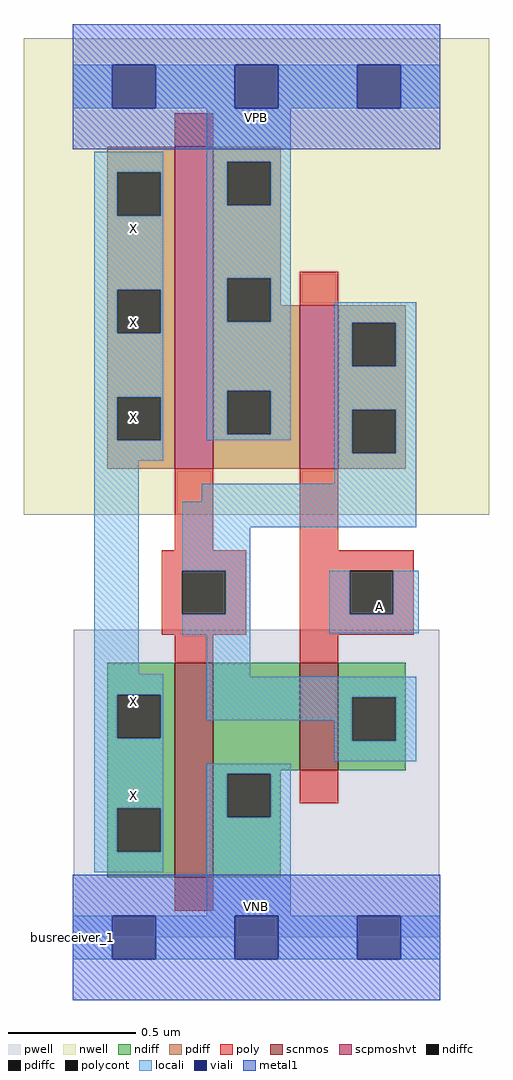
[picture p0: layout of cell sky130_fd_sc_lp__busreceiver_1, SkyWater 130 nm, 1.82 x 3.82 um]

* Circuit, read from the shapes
.subckt sky130_fd_sc_lp__busreceiver_1 A VGND VNB VPB VPWR X
XM1 VGND n1 X VNB sky130_fd_pr__nfet_01v8 w=0.84 l=0.15
XM2 n1 A VGND VNB sky130_fd_pr__nfet_01v8 w=0.42 l=0.15
XM3 VPWR n1 X VPB sky130_fd_pr__pfet_01v8_hvt w=1.26 l=0.15
XM4 n1 A VPWR VPB sky130_fd_pr__pfet_01v8_hvt w=0.64 l=0.15
.ends

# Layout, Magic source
magic
tech sky130A
magscale 1 2
<< nwell >>
rect -38 331 326 704
<< pwell >>
rect 1 49 287 241
rect 0 0 288 49
<< scnmos >>
rect 80 47 110 215
rect 178 131 208 215
<< scpmoshvt >>
rect 80 367 110 619
rect 178 367 208 495
<< ndiff >>
rect 27 190 80 215
rect 27 156 35 190
rect 69 156 80 190
rect 27 101 80 156
rect 27 67 35 101
rect 69 67 80 101
rect 27 47 80 67
rect 110 131 178 215
rect 208 188 261 215
rect 208 154 219 188
rect 253 154 261 188
rect 208 131 261 154
rect 110 128 163 131
rect 110 94 121 128
rect 155 94 163 128
rect 110 47 163 94
<< pdiff >>
rect 27 599 80 619
rect 27 565 35 599
rect 69 565 80 599
rect 27 507 80 565
rect 27 473 35 507
rect 69 473 80 507
rect 27 423 80 473
rect 27 389 35 423
rect 69 389 80 423
rect 27 367 80 389
rect 110 607 163 619
rect 110 573 121 607
rect 155 573 163 607
rect 110 516 163 573
rect 110 482 121 516
rect 155 495 163 516
rect 155 482 178 495
rect 110 428 178 482
rect 110 394 121 428
rect 155 394 178 428
rect 110 367 178 394
rect 208 481 261 495
rect 208 447 219 481
rect 253 447 261 481
rect 208 413 261 447
rect 208 379 219 413
rect 253 379 261 413
rect 208 367 261 379
<< ndiffc >>
rect 35 156 69 190
rect 35 67 69 101
rect 219 154 253 188
rect 121 94 155 128
<< pdiffc >>
rect 35 565 69 599
rect 35 473 69 507
rect 35 389 69 423
rect 121 573 155 607
rect 121 482 155 516
rect 121 394 155 428
rect 219 447 253 481
rect 219 379 253 413
<< poly >>
rect 80 619 110 645
rect 178 495 208 521
rect 80 303 110 367
rect 178 303 208 367
rect 70 287 136 303
rect 70 253 86 287
rect 120 253 136 287
rect 70 237 136 253
rect 178 287 267 303
rect 178 253 217 287
rect 251 253 267 287
rect 178 237 267 253
rect 80 215 110 237
rect 178 215 208 237
rect 178 105 208 131
rect 80 21 110 47
<< polycont >>
rect 86 253 120 287
rect 217 253 251 287
<< locali >>
rect 0 649 31 683
rect 65 649 127 683
rect 161 649 223 683
rect 257 649 288 683
rect 17 599 71 615
rect 17 565 35 599
rect 69 565 71 599
rect 17 507 71 565
rect 17 473 35 507
rect 69 473 71 507
rect 17 423 71 473
rect 17 389 35 423
rect 69 389 71 423
rect 105 607 171 649
rect 105 573 121 607
rect 155 573 171 607
rect 105 516 171 573
rect 105 482 121 516
rect 155 482 171 516
rect 105 428 171 482
rect 105 394 121 428
rect 155 394 171 428
rect 105 389 171 394
rect 205 481 269 497
rect 205 447 219 481
rect 253 447 269 481
rect 205 413 269 447
rect 17 373 71 389
rect 205 379 219 413
rect 253 379 269 413
rect 17 206 52 373
rect 205 355 269 379
rect 101 341 269 355
rect 86 321 269 341
rect 86 287 139 321
rect 120 253 139 287
rect 86 237 139 253
rect 201 253 217 287
rect 251 253 271 287
rect 201 238 271 253
rect 17 190 71 206
rect 17 156 35 190
rect 69 156 71 190
rect 105 204 139 237
rect 105 188 269 204
rect 105 170 219 188
rect 17 101 71 156
rect 205 154 219 170
rect 253 154 269 188
rect 205 138 269 154
rect 17 67 35 101
rect 69 67 71 101
rect 17 51 71 67
rect 105 128 171 136
rect 105 94 121 128
rect 155 94 171 128
rect 105 17 171 94
rect 0 -17 31 17
rect 65 -17 127 17
rect 161 -17 223 17
rect 257 -17 288 17
<< viali >>
rect 31 649 65 683
rect 127 649 161 683
rect 223 649 257 683
rect 31 -17 65 17
rect 127 -17 161 17
rect 223 -17 257 17
<< metal1 >>
rect 0 683 288 715
rect 0 649 31 683
rect 65 649 127 683
rect 161 649 223 683
rect 257 649 288 683
rect 0 617 288 649
rect 0 17 288 49
rect 0 -17 31 17
rect 65 -17 127 17
rect 161 -17 223 17
rect 257 -17 288 17
rect 0 -49 288 -17
<< labels >>
flabel pwell s 0 0 288 49 0 FreeSans 200 0 0 0 VNB
port 3 nsew ground bidirectional
flabel nwell s 0 617 288 666 0 FreeSans 200 0 0 0 VPB
port 4 nsew power bidirectional
rlabel comment s 0 0 0 0 4 busreceiver_1
flabel metal1 s 0 617 288 666 0 FreeSans 340 0 0 0 VPWR
port 5 nsew power bidirectional
flabel metal1 s 0 0 288 49 0 FreeSans 340 0 0 0 VGND
port 2 nsew ground bidirectional
flabel locali s 223 242 257 276 0 FreeSans 340 0 0 0 A
port 1 nsew signal input
flabel locali s 31 94 65 128 0 FreeSans 340 0 0 0 X
port 6 nsew signal output
flabel locali s 31 168 65 202 0 FreeSans 340 0 0 0 X
port 6 nsew signal output
flabel locali s 31 390 65 424 0 FreeSans 340 0 0 0 X
port 6 nsew signal output
flabel locali s 31 464 65 498 0 FreeSans 340 0 0 0 X
port 6 nsew signal output
flabel locali s 31 538 65 572 0 FreeSans 340 0 0 0 X
port 6 nsew signal output
<< properties >>
string LEFsite unit
string LEFclass CORE
string FIXED_BBOX 0 0 288 666
string GDS_FILE $PDKPATH/libs.ref/sky130_fd_sc_lp/gds/sky130_fd_sc_lp.gds
string LEFsymmetry X Y
string GDS_END 2662034
string GDS_START 2657914
<< end >>
